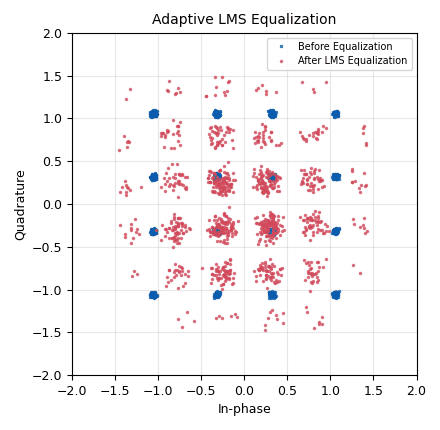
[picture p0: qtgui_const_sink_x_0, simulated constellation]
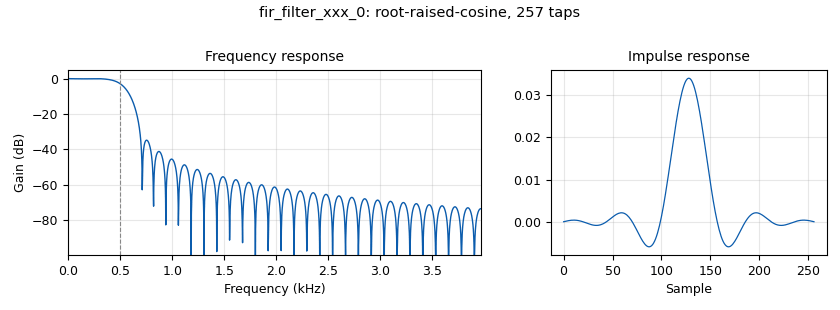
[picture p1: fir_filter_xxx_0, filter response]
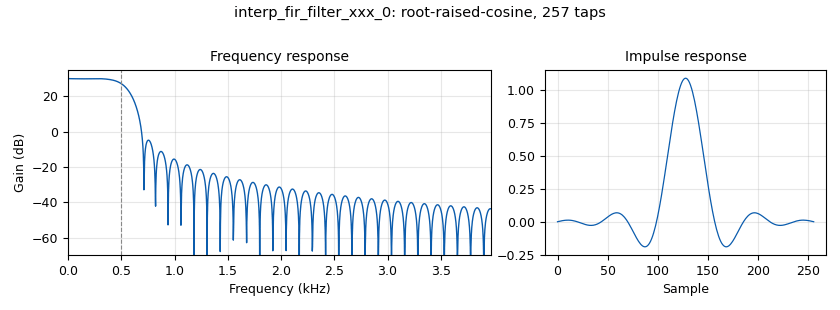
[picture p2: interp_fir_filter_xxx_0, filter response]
options:
  parameters:
    author: Dhrubjun
    generate_options: qt_gui
    id: exp4
    output_language: python
    title: Adaptive LMS Equalization with noise
  states: {}

blocks:
- name: alpha
  id: variable
  parameters:
    value: '0.35'
  states: {}
- name: echo_delay
  id: variable_qtgui_range
  parameters:
    label: Echo Delay (samples)
    start: '0'
    step: '1'
    stop: '32'
    value: '32'
  states: {}
- name: echo_gain
  id: variable_qtgui_range
  parameters:
    label: Echo Gain
    start: '0'
    step: '0.05'
    stop: '1'
    value: '0.5'
  states: {}
- name: lms
  id: variable_adaptive_algorithm
  parameters:
    cons: qpsk
    step_size: '0.005'
    type: lms
  states: {}
- name: noise_amp
  id: variable_qtgui_range
  parameters:
    label: Noise Amplitude
    start: '0'
    step: '0.05'
    stop: '2'
    value: '0'
  states: {}
- name: ntaps
  id: variable
  parameters:
    value: span * sps + 1
  states: {}
- name: qpsk
  id: variable_constellation_rect
  parameters:
    const_points: '[0.707+0.707j, -0.707+0.707j, -0.707-0.707j, 0.707-0.707j]'
    imag_sect: '2'
    real_sect: '2'
    rot_sym: '4'
    sym_map: '[0, 1, 2, 3]'
    w_imag_sect: '1'
    w_real_sect: '1'
  states: {}
- name: samp_rate
  id: variable
  parameters:
    value: '32000'
  states: {}
- name: span
  id: variable
  parameters:
    value: '8'
  states: {}
- name: sps
  id: variable
  parameters:
    value: int(samp_rate / symbol_rate)
  states: {}
- name: symbol_rate
  id: variable
  parameters:
    value: '1000'
  states: {}
- name: analog_noise_source_x_0
  id: analog_noise_source_x
  parameters:
    amp: noise_amp
    noise_type: analog.GR_GAUSSIAN
    seed: '0'
    type: complex
  states: {}
- name: analog_random_source_x_0
  id: analog_random_source_x
  parameters:
    max: '2'
    min: '0'
    num_samps: '1000'
    repeat: 'True'
    type: byte
  states: {}
- name: analog_random_source_x_0_0
  id: analog_random_source_x
  parameters:
    max: '2'
    min: '0'
    num_samps: '1000'
    repeat: 'True'
    type: byte
  states: {}
- name: blocks_add_xx_0
  id: blocks_add_xx
  parameters:
    num_inputs: '3'
    type: complex
  states: {}
- name: blocks_delay_0
  id: blocks_delay
  parameters:
    delay: echo_delay
    type: complex
  states: {}
- name: blocks_float_to_complex_0
  id: blocks_float_to_complex
  parameters: {}
  states: {}
- name: blocks_keep_one_in_n_0
  id: blocks_keep_one_in_n
  parameters:
    n: sps
    type: complex
  states: {}
- name: blocks_multiply_const_vxx_0
  id: blocks_multiply_const_vxx
  parameters:
    const: echo_gain
    type: complex
  states: {}
- name: blocks_throttle2_0
  id: blocks_throttle2
  parameters:
    samples_per_second: samp_rate
    type: complex
  states: {}
- name: digital_chunks_to_symbols_xx_0
  id: digital_chunks_to_symbols_xx
  parameters:
    dimension: '1'
    in_type: byte
    out_type: float
    symbol_table: '[-0.70710678, 0.70710678]'
  states: {}
- name: digital_chunks_to_symbols_xx_0_0
  id: digital_chunks_to_symbols_xx
  parameters:
    dimension: '1'
    in_type: byte
    out_type: float
    symbol_table: '[-0.70710678, 0.70710678]'
  states: {}
- name: digital_linear_equalizer_0
  id: digital_linear_equalizer
  parameters:
    alg: lms
    num_taps: '5'
    sps: '1'
  states: {}
- name: fir_filter_xxx_0
  id: fir_filter_xxx
  parameters:
    decim: '1'
    taps: firdes.root_raised_cosine(1, samp_rate, symbol_rate, alpha, ntaps)
    type: ccf
  states: {}
- name: interp_fir_filter_xxx_0
  id: interp_fir_filter_xxx
  parameters:
    interp: sps
    taps: firdes.root_raised_cosine(sps, samp_rate, symbol_rate, alpha, ntaps)
    type: ccf
  states: {}
- name: qtgui_const_sink_x_0
  id: qtgui_const_sink_x
  parameters:
    grid: 'True'
    label1: Before Equalization
    label2: After LMS Equalization
    name: Adaptive LMS Equalization
    nconnections: '2'
    size: '1024'
    type: complex
  states: {}

connections:
- [analog_noise_source_x_0, '0', blocks_add_xx_0, '0']
- [analog_random_source_x_0, '0', digital_chunks_to_symbols_xx_0, '0']
- [analog_random_source_x_0_0, '0', digital_chunks_to_symbols_xx_0_0, '0']
- [blocks_add_xx_0, '0', fir_filter_xxx_0, '0']
- [blocks_delay_0, '0', blocks_multiply_const_vxx_0, '0']
- [blocks_float_to_complex_0, '0', interp_fir_filter_xxx_0, '0']
- [blocks_keep_one_in_n_0, '0', digital_linear_equalizer_0, '0']
- [blocks_keep_one_in_n_0, '0', qtgui_const_sink_x_0, '0']
- [blocks_multiply_const_vxx_0, '0', blocks_add_xx_0, '2']
- [blocks_throttle2_0, '0', blocks_add_xx_0, '1']
- [blocks_throttle2_0, '0', blocks_delay_0, '0']
- [digital_chunks_to_symbols_xx_0, '0', blocks_float_to_complex_0, '0']
- [digital_chunks_to_symbols_xx_0_0, '0', blocks_float_to_complex_0, '1']
- [digital_linear_equalizer_0, '0', qtgui_const_sink_x_0, '1']
- [fir_filter_xxx_0, '0', blocks_keep_one_in_n_0, '0']
- [interp_fir_filter_xxx_0, '0', blocks_throttle2_0, '0']

metadata:
  file_format: 1
  grc_version: 3.10.12.0
